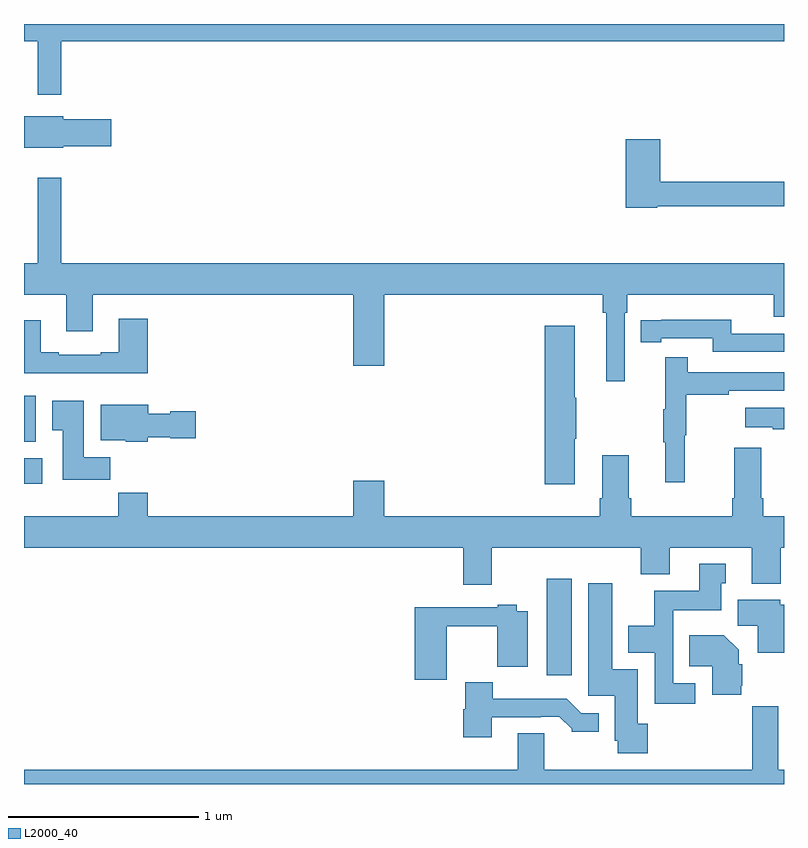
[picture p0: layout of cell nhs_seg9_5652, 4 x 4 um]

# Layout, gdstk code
import gdstk
lib = gdstk.Library(unit=1e-6, precision=1e-09)
def R(c, l, rs):  # rectangles x0, y0, x1, y1
    for r in rs: c.add(gdstk.rectangle(r[:2], r[2:], *l))
def P(c, l, *ps):  # polygons
    for p in ps: c.add(gdstk.Polygon(p, *l))
L2000_40 = (2000, 40)

nhs_seg9_5652 = lib.new_cell('nhs_seg9_5652')
R(nhs_seg9_5652, L2000_40, [(441.752,1205.073,441.883,1205.581), (439,1206.08,439.096,1206.214), (439,1206.302,439.063,1206.544)])
P(nhs_seg9_5652, L2000_40, [(439.195,1208.408),(443,1208.408),(443,1208.5),(439,1208.5),(439,1208.408),(439.073,1208.408),(439.073,1208.127),(439.195,1208.127)],
  [(439.206,1207.856),(439.459,1207.856),(439.459,1207.998),(439.206,1207.998),(439.206,1208.014),(439,1208.014),(439,1207.85),(439.206,1207.85)],
  [(442.332,1207.542),(443,1207.542),(443,1207.67),(442.349,1207.67),(442.349,1207.894),(442.166,1207.894),(442.166,1207.534),(442.332,1207.534)],
  [(442.161,1206.98),(442.175,1206.98),(442.175,1207.076),(442.946,1207.076),(442.946,1206.959),(443,1206.959),(443,1207.24),(439.195,1207.24),(439.195,1207.69),(439.073,1207.69),(439.073,1207.24),(439,1207.24),(439,1207.076),(439.223,1207.076),(439.223,1206.882),(439.363,1206.882),(439.363,1207.076),(440.732,1207.076),(440.732,1206.702),(440.896,1206.702),(440.896,1207.076),(442.045,1207.076),(442.045,1206.98),(442.064,1206.98),(442.064,1206.621),(442.161,1206.621)],
  [(439.652,1206.949),(439.499,1206.949),(439.499,1206.772),(439.403,1206.772),(439.403,1206.759),(439.183,1206.759),(439.183,1206.772),(439.087,1206.772),(439.087,1206.94),(439,1206.94),(439,1206.662),(439.652,1206.662)],
  [(443,1206.87),(442.722,1206.87),(442.722,1206.943),(442.354,1206.943),(442.354,1206.942),(442.246,1206.942),(442.246,1206.826),(442.354,1206.826),(442.354,1206.846),(442.626,1206.846),(442.626,1206.774),(443,1206.774)],
  [(441.898,1206.316),(441.906,1206.316),(441.906,1206.533),(441.898,1206.533),(441.898,1206.913),(441.74,1206.913),(441.74,1206.078),(441.898,1206.078)],
  [(442.478,1206.336),(442.486,1206.336),(442.486,1206.55),(442.709,1206.55),(442.709,1206.57),(443,1206.57),(443,1206.666),(442.493,1206.666),(442.493,1206.745),(442.376,1206.745),(442.376,1206.473),(442.365,1206.473),(442.365,1206.299),(442.376,1206.299),(442.376,1206.087),(442.478,1206.087)],
  [(439.454,1206.22),(439.315,1206.22),(439.315,1206.517),(439.148,1206.517),(439.148,1206.361),(439.205,1206.361),(439.205,1206.102),(439.454,1206.102)],
  [(439.65,1206.326),(439.77,1206.326),(439.77,1206.319),(439.903,1206.319),(439.903,1206.461),(439.77,1206.461),(439.77,1206.448),(439.654,1206.448),(439.654,1206.496),(439.403,1206.496),(439.403,1206.308),(439.536,1206.308),(439.536,1206.302),(439.65,1206.302)],
  [(443,1206.481),(442.797,1206.481),(442.797,1206.377),(442.94,1206.377),(442.94,1206.367),(443,1206.367)],
  [(441.463,1205.744),(442.247,1205.744),(442.247,1205.603),(442.399,1205.603),(442.399,1205.744),(442.829,1205.744),(442.829,1205.555),(442.982,1205.555),(442.982,1205.744),(443,1205.744),(443,1205.908),(442.892,1205.908),(442.892,1206.004),(442.879,1206.004),(442.879,1206.271),(442.739,1206.271),(442.739,1206.004),(442.727,1206.004),(442.727,1205.908),(442.196,1205.908),(442.196,1206.004),(442.183,1206.004),(442.183,1206.229),(442.043,1206.229),(442.043,1206.004),(442.031,1206.004),(442.031,1205.908),(440.896,1205.908),(440.896,1206.097),(440.732,1206.097),(440.732,1205.908),(439.652,1205.908),(439.652,1206.032),(439.495,1206.032),(439.495,1205.908),(439,1205.908),(439,1205.744),(441.311,1205.744),(441.311,1205.55),(441.463,1205.55)],
  [(442.534,1205.031),(442.416,1205.031),(442.416,1205.414),(442.669,1205.414),(442.669,1205.556),(442.693,1205.556),(442.693,1205.659),(442.553,1205.659),(442.553,1205.518),(442.318,1205.518),(442.318,1205.332),(442.181,1205.332),(442.181,1205.192),(442.32,1205.192),(442.32,1204.923),(442.534,1204.923)],
  [(442.283,1204.818),(442.231,1204.818),(442.231,1205.104),(442.096,1205.104),(442.096,1205.557),(441.971,1205.557),(441.971,1204.965),(442.109,1204.965),(442.109,1204.728),(442.126,1204.728),(442.126,1204.662),(442.283,1204.662)],
  [(443,1205.443),(442.98,1205.443),(442.98,1205.47),(442.757,1205.47),(442.757,1205.332),(442.862,1205.332),(442.862,1205.192),(443,1205.192)],
  [(441.226,1205.329),(441.49,1205.329),(441.49,1205.117),(441.652,1205.117),(441.652,1205.41),(441.594,1205.41),(441.594,1205.443),(441.494,1205.443),(441.494,1205.43),(441.056,1205.43),(441.056,1205.049),(441.226,1205.049)],
  [(442.775,1205.016),(442.78,1205.016),(442.78,1205.13),(442.762,1205.13),(442.762,1205.206),(442.684,1205.284),(442.501,1205.284),(442.501,1205.12),(442.622,1205.12),(442.622,1204.97),(442.775,1204.97)],
  [(441.463,1204.851),(441.719,1204.851),(441.719,1204.854),(441.818,1204.854),(441.882,1204.79),(441.882,1204.775),(442.024,1204.775),(442.024,1204.872),(441.933,1204.872),(441.857,1204.948),(441.466,1204.948),(441.466,1205.035),(441.323,1205.035),(441.323,1204.893),(441.311,1204.893),(441.311,1204.746),(441.463,1204.746)],
  [(443,1204.576),(442.97,1204.576),(442.97,1204.909),(442.834,1204.909),(442.834,1204.576),(441.739,1204.576),(441.739,1204.766),(441.599,1204.766),(441.599,1204.576),(439,1204.576),(439,1204.5),(443,1204.5)])

lib.write_gds('nhs_seg9_5652.gds')
